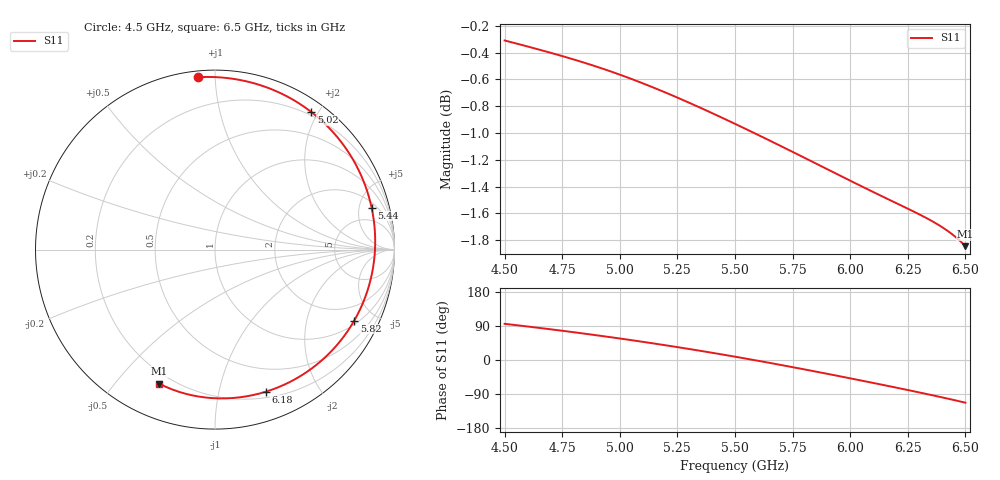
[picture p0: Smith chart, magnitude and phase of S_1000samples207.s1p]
! TOUCHSTONE file generated by CST MICROWAVE STUDIO
! Date and time: Thu Oct 27 09:22:53 2022
! Project name: L.cst
! Parameters = {Di=1.27; Epsilon_r=1.56; InnerDiameter=1.27; Length=2; Lf=10; Lg=60; OuterConductorThickness=0.2921; OuterDiameter=3.6; Wf=3; Wp=41.2; de=1.5; df=6.8; g=0.8; gx=4.55741; gy=3.73102; h=2.34; hf=1.524; px=9.95848; py=13.004; w=9.7; wx=5.40107; wy=9.273}
! Header version: 2018
! Port assignment regex: !\s*Touchstone port\s*([0-9]+)\s*=\s*(CST MWS port|CST DS port)\s*([0-9]+|Zmin|Zmax)\s*\(\"(.*)\"\)(\s*mode\s*([0-9]+))?.*
! Touchstone port assignment:
! Touchstone port 1 = CST MWS port 1 ("")
# GHz S DB R 50
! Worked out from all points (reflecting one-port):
!   101 points, 4.5 GHz to 6.5 GHz, reference 50 ohm
!   lowest |S11| = -1.8 dB at 6.5 GHz (marker M1), VSWR 9.46, Z = 7.59 - j32.8 ohm
!   phase of S11 starts at 95 deg and turns -208 deg over the sweep
!   S11 on the Smith chart (normalised r, x): 4.5 GHz: 0.03, +0.91; 5.02 GHz: 0.16, +1.91; 5.44 GHz: 2.59, +6.59; 5.82 GHz: 1.17, -3.83; 6.18 GHz: 0.26, -1.38; 6.5 GHz: 0.15, -0.66
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4.5  -0.31 95.5
4.58  -0.35 89.8
4.64  -0.37 85.4
4.76  -0.43 76.4
4.88  -0.49 66.8
5  -0.57 56.8
5.02  -0.58 55.0
5.08  -0.62 49.7
5.14  -0.66 44.3
5.26  -0.74 33.0
5.36  -0.82 23.2
5.44  -0.88 15.0
5.5  -0.93 8.7
5.58  -1.00 0.1
5.64  -1.05 -6.5
5.7  -1.10 -13.2
5.76  -1.15 -20.0
5.82  -1.20 -27.0
5.9  -1.27 -36.4
6  -1.36 -48.4
6.06  -1.41 -55.6
6.1  -1.44 -60.5
6.18  -1.51 -70.4
6.26  -1.57 -80.5
6.32  -1.62 -88.2
6.38  -1.68 -96.1
6.44  -1.75 -104.2
6.5  -1.84 -112.7
